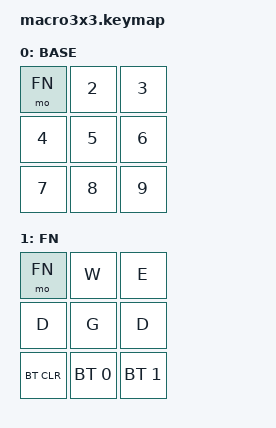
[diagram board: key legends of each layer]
#include <behaviors.dtsi>
#include <dt-bindings/zmk/keys.h>
#include <dt-bindings/zmk/bt.h>

#define BASE 0
#define FN 1

/ {
    keymap {
        compatible = "zmk,keymap";

        default_layer {
            label = "BASE";
            bindings = <
                &mo FN    &kp N2    &kp N3
                &kp N4    &kp N5    &kp N6
                &kp N7    &kp N8    &kp N9
            >;

        };

        fn_layer {
            label = "FN";
            bindings = <
                &mo FN    &kp W    &kp E
                &kp D    &kp G    &kp D
                &bt BT_CLR    &bt BT_SEL 0    &bt BT_SEL 1
            >;

        };
    };
};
